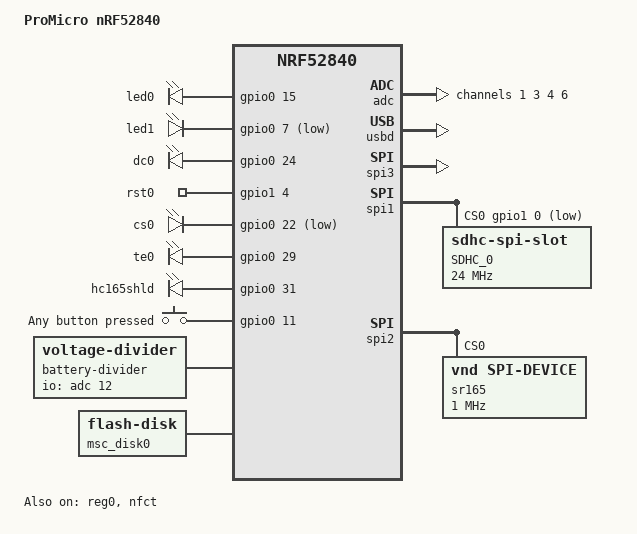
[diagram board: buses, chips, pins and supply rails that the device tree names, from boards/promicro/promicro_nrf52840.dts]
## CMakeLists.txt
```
# SPDX-License-Identifier: Apache-2.0

cmake_minimum_required(VERSION 3.20.0)
find_package(Zephyr REQUIRED HINTS $ENV{ZEPHYR_BASE})
project(blinky_custom)

# nostartfiles allows building on chromeos.
# not sure if its also needed for linux,
# but it probably isn't
zephyr_ld_options(-nostartfiles)

target_sources(app PRIVATE
    src/luazephyrlib.c
    src/lua/lapi.c
    src/lua/lauxlib.c
    src/lua/lbaselib.c
    src/lua/lcode.c
    src/lua/lcorolib.c
    src/lua/lctype.c
    src/lua/ldebug.c
    src/lua/ldo.c
    src/lua/ldump.c
    src/lua/lfunc.c
    src/lua/lgc.c
    src/lua/linit.c
    src/lua/liolib.c
    src/lua/llex.c
    src/lua/lmathlib.c
    src/lua/lmem.c
    src/lua/lobject.c
    src/lua/lopcodes.c
    src/lua/lparser.c
    src/lua/lstate.c
    src/lua/lstring.c
    src/lua/lstrlib.c
    src/lua/ltable.c
    src/lua/ltablib.c
    src/lua/ltm.c
    src/lua/lundump.c
    src/lua/lvm.c
    src/lua/lzio.c
    src/lua/loadlib.c

    src/main.c
    src/imgdata.c
    src/fonts/font8.c
    src/paint.c
    src/console/shell_commands.c
    src/console/console_router.c
    src/radio/ble_peer.c
    src/usb.c
    src/lua_thread.c
    src/filesystem/disk.c
    src/input.c
    src/ui.c
    src/AnalogIn.c
    src/battery.c
    src/drivers/74HC165.c
    src/drivers/ST7305.c
    src/stubs/strlcpy.c
    src/radio/radio.c
    src/radio/nfc.c
)
```

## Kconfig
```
mainmenu "Furrydex"

menu "Display"

choice FURRYDEX_DISPLAY_TYPE
	bool "Type of display used"
	default FURRYDEX_DISPLAY_TYPE_LCD

config FURRYDEX_DISPLAY_TYPE_LCD
	bool "LCD"

config FURRYDEX_DISPLAY_TYPE_EPD
	bool "EPD"
	
endchoice

choice # this choice is from https://github.com/SlimeVR/SlimeVR-Tracker-nRF, as is the battery code.
    prompt "Battery voltage mapping"
    default BATTERY_NO_MAPPING

config BATTERY_USE_REG_BUCK_MAPPING
    bool "Use buck regulator mapping (3.7V battery, DCDC)"
    help
      Use a constant power mapping for battery voltage.
      Preffered for systems with a buck regulator.
      Measured at a system voltage of 3.0V.

config BATTERY_USE_REG_LDO_MAPPING
    bool "Use LDO linear regulator mapping (3.7V battery, LDO)"
    help
      Use a constant current mapping for battery voltage.
      Preferred for systems with a linear regulator.

config BATTERY_NO_MAPPING
    bool "Disable battery voltage mapping"
    help
      Always map to 100% battery. Disables battery monitoring.

endchoice

config FURRYDEX_DISPLAY_WIDTH
    int "EPD RAM width"
    default 132
    help
      The width of the EPD displays RAM in bits

config FURRYDEX_DISPLAY_OFFSET_X
    int "Image offset for the X axis"
    default 10
    help
      Offset the image n amount to the right (x axis). Useful for screens with dummy pixels.

config FURRYDEX_DISPLAY_HEIGHT
    int "Display memory height"
    default 250
    help
      The height of the EPD displays RAM in bits

config FURRYDEX_CURSOR_START_X
    int "Display memory cursor start X"
    default 0
    help
      Set the start of the EPD RAM cursors X position. Normal value is 0

config FURRYDEX_CURSOR_START_Y
    int "Display memory cursor start Y"
    default 249
    help
      Set the start of the EPD RAM cursors Y position. Normal value is HEIGHT-1 or 0

config FURRYDEX_FRAME_BYTES_BUFFER
    int "Size of frame buffers"
    default 4250
    help
      The size of a frame buffer in the MCU's memory. This is sometimes different than the display's expected bytes due to pixel packing patterns.

config FURRYDEX_FRAME_BYTES_DISPLAY
    int "Size of display's memory"
    default 4125
    help
      The number of bytes that the display expects to receive

endmenu

menu "Input mapping"
	config FURRYDEX_INPUT_LEFT
	int "The shift register bit corresponding to the left input (0-7)"
	default 6
	help
		The shift register bit corresponding to the left input (0-7)

	config FURRYDEX_INPUT_RIGHT
	int "The shift register bit corresponding to the right input (0-7)"
	default 5
	help
		The shift register bit corresponding to the right input (0-7)

	config FURRYDEX_INPUT_UP
	int "The shift register bit corresponding to the up input (0-7)"
	default 4
	help
		The shift register bit corresponding to the up input (0-7)

	config FURRYDEX_INPUT_DOWN
	int "The shift register bit corresponding to the down input (0-7)"
	default 7
	help
		The shift register bit corresponding to the down input (0-7)

	config FURRYDEX_INPUT_A
	int "The shift register bit corresponding to the A input (0-7)"
	default 3
	help
		The shift register bit corresponding to the A input (0-7)

	config FURRYDEX_INPUT_B
	int "The shift register bit corresponding to the B input (0-7)"
	default 1
	help
		The shift register bit corresponding to the B input (0-7)

	config FURRYDEX_INPUT_C
	int "The shift register bit corresponding to the C input (0-7)"
	default 2
	help
		The shift register bit corresponding to the C input (0-7)
endmenu

menu "Lua options"
config LUA_HEAP_SIZE
	int "How much memory to be allocated to Lua"
	default 65536
	help
	  How much memory to be allocated to Lua's heap

config LUA_MAX_THREADS
	int "How many Lua scripts can be running at once"
	default 7
	help
	  How many Lua scripts can be running at once

config LUA_THREAD_STACK_SIZE
	int "How much memory to be allocated to each Lua thread"
	default 4096
	help
	  How much memory to be allocated to each Lua thread.

endmenu

menu "FurOS"
config FUROS_HEADLESS
	bool "Run FurOS headless (no GUI)"
	default true
	help
		Run FurOS headless (No GUI)

choice
    prompt "Disk mode"
    default DISK_MODE_NVS

config DISK_MODE_SD
    bool "Use an SD card as the mounted drive"
    help
      Mount the connected SD card on startup and treat it as the main drive.

config DISK_MODE_NVS
    bool "Use the internal storage of the SoC as the mounted drive"
    select FAT_FILESYSTEM_ELM
    select DISK_DRIVER_FLASH
    select FLASH_MAP
    help
      Use a FAT filesystem on the SoC's internal flash as the main drive.
      The drive is also exposed over USB mass storage.

endchoice

endmenu

menu "BLE defaults"
	depends on BT

config BLE_DEFAULT_COMPANY_ID
	string "Default company ID used for BLE advertizements"
	default "MP"
	help
	  Default company ID used for BLE advertizements.
endmenu

menu "USB sample options"
	depends on USB_DEVICE_STACK_NEXT

config SAMPLE_USBD_MANUFACTURER
	string "USB device sample manufacturer string"
	default "Zephyr Project"
	help
	  USB device sample manufacturer string.

config SAMPLE_USBD_PRODUCT
	string "USB device sample product string"
	default "USBD sample"
	help
	  USB device sample product stringa.

config SAMPLE_USBD_VID
	hex "USB device sample Vendor ID"
	default 0x2fe3
	help
	  USB device sample Vendor ID. The default id (0x2fe3) is associated to
	  Zephyr Project, you must use your own VID for samples and applications
	  outside of Zephyr Project.

config SAMPLE_USBD_PID
	hex "USB device sample Product ID"
	default 0x0001
	help
	  USB device sample Product ID. You must use your own PID for samples
	  and applications outside of Zephyr Project.

config SAMPLE_USBD_SELF_POWERED
	bool "USB device sample Self-powered attribute"
	default y
	help
	  Set the Self-powered attribute in the sample configuration.

config SAMPLE_USBD_REMOTE_WAKEUP
	bool "USB device sample Remote Wakeup attribute"
	help
	  Set the Remote Wakeup attribute in the sample configuration.

config SAMPLE_USBD_MAX_POWER
	int "USB device sample bMaxPower value"
	default 125
	range 0 250
	help
	  bMaxPower value in the sample configuration in 2 mA units.

config SAMPLE_USBD_20_EXTENSION_DESC
	bool "Use default USB 2.0 Extension Descriptor"
	depends on USBD_BOS_SUPPORT
	help
	  Set bcdUSB value to 0201 and use default USB 2.0 Extension Descriptor.

endmenu

source "Kconfig.zephyr"
```

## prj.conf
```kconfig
CONFIG_SPI_NRFX=y

CONFIG_ARM_MPU=n

CONFIG_HW_STACK_PROTECTION=n

CONFIG_GPIO=y
CONFIG_SPI=y
CONFIG_PWM=y
# adc is just for modules
CONFIG_ADC=y
CONFIG_ADC_ASYNC=y
# i2c is just for modules
CONFIG_I2C=y
# eeprom is just for modules
CONFIG_EEPROM=y
# flash is just for modules
CONFIG_FLASH=y

CONFIG_REBOOT=y

CONFIG_DISK_ACCESS=y
CONFIG_FILE_SYSTEM=y
CONFIG_FAT_FILESYSTEM_ELM=y
CONFIG_FS_FATFS_MOUNT_MKFS=y
CONFIG_FS_FATFS_EXFAT=y
CONFIG_DISK_DRIVER_SDMMC=y

# this stuff needs to increase for SD card
CONFIG_MAIN_STACK_SIZE=8096
CONFIG_SHELL_STACK_SIZE=4096
CONFIG_HEAP_MEM_POOL_SIZE=16384
CONFIG_SYSTEM_WORKQUEUE_STACK_SIZE=2048

# usb / console
CONFIG_USB_DEVICE_STACK_NEXT=y

#CONFIG_STDOUT_CONSOLE=y
CONFIG_SERIAL=y
CONFIG_SHELL_BACKEND_SERIAL_CHECK_DTR=n
CONFIG_UART_LINE_CTRL=y
CONFIG_USBD_CDC_ACM_CLASS=y
CONFIG_CDC_ACM_SERIAL_INITIALIZE_AT_BOOT=n
CONFIG_SHELL_BACKEND_SERIAL_RX_RING_BUFFER_SIZE=8096

CONFIG_LOG=y
CONFIG_USBD_LOG_LEVEL_WRN=y
CONFIG_UDC_DRIVER_LOG_LEVEL_WRN=y
CONFIG_USBD_LOG_LEVEL_ERR=y
CONFIG_UDC_DRIVER_LOG_LEVEL_ERR=y
CONFIG_USBD_CDC_ACM_LOG_LEVEL_OFF=y

CONFIG_SAMPLE_USBD_PID=0x0001
CONFIG_SAMPLE_USBD_PRODUCT="Furrydex"
CONFIG_SAMPLE_USBD_MANUFACTURER="Macroplastics"

CONFIG_USBD_MSC_CLASS=y
CONFIG_USBD_MSC_LUNS_PER_INSTANCE=1

CONFIG_UDC_BUF_COUNT=32
# 8192 might be too high
CONFIG_UDC_BUF_POOL_SIZE=8192
# CONFIG_SYSTEM_WORKQUEUE_STACK_SIZE=8192

CONFIG_SHELL=y
# this stuff is probably not needed and should probably be removed in production firmware, but it is so cool!!
# i think sched(uler) is for multi-core cpus
# CONFIG_SCHED_CPU_MASK=y
CONFIG_THREAD_RUNTIME_STATS=y
CONFIG_KERNEL_SHELL=y
CONFIG_STATS=y
CONFIG_STATS_SHELL=y

# lua stuff
# CONFIG_NEWLIB_LIBC_SUPPORTED=y
# CONFIG_NEWLIB_LIBC=y
# CONFIG_NEWLIB_LIBC_FLOAT_PRINTF=y
# CONFIG_NEWLIB_LIBC_FLOAT_SCANF=y
CONFIG_POSIX_API=y

CONFIG_ENTROPY_GENERATOR=y
CONFIG_THREAD_NAME=y


### RTT ###
# Enable RTT driver
CONFIG_USE_SEGGER_RTT=y

# Redirect the console and printk to RTT
CONFIG_CONSOLE=y
CONFIG_RTT_CONSOLE=y
CONFIG_UART_CONSOLE=n

# Optional: Enable the logger module with RTT backend
CONFIG_LOG=y
CONFIG_LOG_BACKEND_RTT=y

### Radio ###
# BLE
CONFIG_BT=y
CONFIG_BT_OBSERVER=y
CONFIG_BT_BROADCASTER=y
CONFIG_BT_PERIPHERAL=y
CONFIG_BT_CENTRAL=y
CONFIG_BT_GATT_CLIENT=y
CONFIG_BT_DEVICE_NAME="Furrydex"
CONFIG_BT_ZEPHYR_NUS=y
CONFIG_BT_ZEPHYR_NUS_DEFAULT_INSTANCE=y
CONFIG_BT_NUS_CLIENT=y
CONFIG_BT_GATT_DM=y
CONFIG_BT_L2CAP_TX_MTU=247
CONFIG_BT_BUF_ACL_TX_SIZE=251
CONFIG_BT_BUF_ACL_RX_SIZE=251

CONFIG_BT_EXT_ADV=y
CONFIG_BT_CTLR_ADV_EXT=y
CONFIG_BT_CTLR_PHY_CODED=y

# NFC
CONFIG_NFC_T2T_NRFXLIB=y # Include the pre-compiled NFC T2T library

CONFIG_NFC_NDEF=y # Enable NDEF support
CONFIG_NFC_NDEF_MSG=y # Enable NDEF message support
CONFIG_NFC_NDEF_RECORD=y # Enable NDEF record support
CONFIG_NFC_NDEF_TEXT_RECORD=y # Enable NDEF text record support
```

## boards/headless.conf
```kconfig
CONFIG_FUROS_HEADLESS=y
CONFIG_DISK_MODE_NVS=y
CONFIG_SAMPLE_USBD_MANUFACTURER="Macroplastics"
CONFIG_SAMPLE_USBD_PRODUCT="Furrydex"
CONFIG_MAIN_STACK_SIZE=8096
CONFIG_SHELL_STACK_SIZE=4096
CONFIG_FLASH=y
CONFIG_LOG=y
CONFIG_CONSOLE=y
CONFIG_REBOOT=y
CONFIG_BT_BUF_ACL_TX_SIZE=251
CONFIG_BT_BUF_ACL_RX_SIZE=251
CONFIG_BT_L2CAP_TX_MTU=247
CONFIG_BT_GATT_DM=y
CONFIG_BT_NUS_CLIENT=y
CONFIG_HEAP_MEM_POOL_SIZE=16384
CONFIG_BT_CENTRAL=y
CONFIG_BT_PERIPHERAL=y
CONFIG_BT_EXT_ADV=y
CONFIG_BT_ZEPHYR_NUS=y
CONFIG_BT_GATT_CLIENT=y
CONFIG_BT_DEVICE_NAME="Furrydex"
CONFIG_NFC_NDEF=y
CONFIG_NFC_NDEF_MSG=y
CONFIG_NFC_NDEF_RECORD=y
CONFIG_NFC_NDEF_TEXT_RECORD=y
CONFIG_USE_SEGGER_RTT=y
CONFIG_NFC_T2T_NRFXLIB=y
CONFIG_ADC=y
CONFIG_ADC_ASYNC=y
CONFIG_RTT_CONSOLE=y
CONFIG_EEPROM=y
CONFIG_I2C=y
CONFIG_PWM=y
CONFIG_UART_LINE_CTRL=y
CONFIG_UDC_BUF_COUNT=32
CONFIG_UDC_BUF_POOL_SIZE=8192
CONFIG_UDC_DRIVER_LOG_LEVEL_ERR=y
CONFIG_POSIX_API=y
CONFIG_BT=y
CONFIG_BT_CTLR_PHY_CODED=y
CONFIG_DEBUG_THREAD_INFO=y
CONFIG_FAT_FILESYSTEM_ELM=y
CONFIG_FS_FATFS_EXFAT=y
CONFIG_LOG_BACKEND_RTT=y
CONFIG_SHELL=y
CONFIG_SHELL_BACKEND_SERIAL_RX_RING_BUFFER_SIZE=8096
CONFIG_STATS=y
CONFIG_STATS_SHELL=y
CONFIG_USB_DEVICE_STACK_NEXT=y
CONFIG_USBD_LOG_LEVEL_ERR=y
CONFIG_USBD_CDC_ACM_LOG_LEVEL_OFF=y
CONFIG_USBD_MSC_CLASS=y
```

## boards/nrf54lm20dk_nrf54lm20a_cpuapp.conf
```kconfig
# SPDX-License-Identifier: Apache-2.0

# board specific
CONFIG_FURRYDEX_DISPLAY_WIDTH=132
CONFIG_FURRYDEX_DISPLAY_HEIGHT=250

CONFIG_FURRYDEX_FRAME_BYTES_BUFFER=4250
CONFIG_FURRYDEX_FRAME_BYTES_DISPLAY=4125
CONFIG_FURRYDEX_CURSOR_START_X=0
CONFIG_FURRYDEX_CURSOR_START_Y=249
CONFIG_BATTERY_USE_REG_LDO_MAPPING=y
CONFIG_LUA_HEAP_SIZE=262144

CONFIG_DK_LIBRARY=y

# For debugging, this should never be disabled on production boards
CONFIG_RESET_ON_FATAL_ERROR=n
```

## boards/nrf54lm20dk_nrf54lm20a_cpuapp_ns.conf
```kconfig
# SPDX-License-Identifier: Apache-2.0

# board specific
CONFIG_FURRYDEX_DISPLAY_WIDTH=132
CONFIG_FURRYDEX_DISPLAY_HEIGHT=250

# not 4125 due to weird 132-pixel width
CONFIG_FURRYDEX_FRAME_BYTES_BUFFER=4250
# the LCD expects 4125 bits. this is fuckin weird. fix it later.
CONFIG_FURRYDEX_FRAME_BYTES_DISPLAY=4125
CONFIG_FURRYDEX_CURSOR_START_X=0
CONFIG_FURRYDEX_CURSOR_START_Y=249
CONFIG_BATTERY_USE_REG_LDO_MAPPING=y
```

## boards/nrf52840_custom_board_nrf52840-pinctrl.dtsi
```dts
/*
 * Copyright (c) 2022 Nordic Semiconductor
 * SPDX-License-Identifier: Apache-2.0
 */

&pinctrl {
	spi3_default: spi3_default {
		group1 {
			psels = <NRF_PSEL(SPIM_MOSI, 0, 17)>,
					<NRF_PSEL(SPIM_SCK, 0, 20)>;
		};
	};

	spi3_sleep: spi3_sleep {
		group1 {
			psels = <NRF_PSEL(SPIM_MOSI, 0, 17)>,
					<NRF_PSEL(SPIM_SCK, 0, 20)>;
			low-power-enable;
		};
	};

	spi_sr: spi_sr{
		group1 {
            psels = <NRF_PSEL(SPIM_SCK, 0, 8)>, // CLK
					<NRF_PSEL(SPIM_MISO, 0, 6)>; // QH (pin 9)
        };
	};

	custom_spi: custom_spi {
                group1 {
                        psels = <NRF_PSEL(SPIM_SCK, 1, 15)>,
                                <NRF_PSEL(SPIM_MOSI, 1, 13)>,
                                <NRF_PSEL(SPIM_MISO, 1, 11)>;
                };
        };
};
```

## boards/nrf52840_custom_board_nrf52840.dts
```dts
/*
 * Copyright (c) 2017 Linaro Limited
 *
 * SPDX-License-Identifier: Apache-2.0
 */

/dts-v1/;
#include <nordic/nrf52840_qiaa.dtsi>
#include <nordic/nrf52840_partition.dtsi>
#include "nrf52840_custom_board_nrf52840-pinctrl.dtsi"
#include <zephyr/dt-bindings/input/input-event-codes.h>

#include <zephyr/dt-bindings/adc/adc.h>
#include <zephyr/dt-bindings/adc/nrf-adc.h>

/ {
	model = "Nrf52840 Custom Board";
	compatible = "nordic,nrf52840-custom-board-nrf52840";

	chosen {
		zephyr,console = &cdc_acm_uart0;
		zephyr,shell-uart = &cdc_acm_uart0;
		zephyr,uart-mcumgr = &cdc_acm_uart0;
		zephyr,bt-mon-uart = &cdc_acm_uart0;
		zephyr,bt-c2h-uart = &cdc_acm_uart0;
	};

	leds {
		compatible = "gpio-leds";
		led0: led_0 {
			gpios = <&gpio0 15 GPIO_ACTIVE_HIGH>;
		};
		led1: led_1 {
			gpios = <&gpio0 7 GPIO_ACTIVE_LOW>;
		};
	};

	gpios {
		compatible = "gpio-leds";
		dc0: dc_0{
			gpios = <&gpio0 24 GPIO_ACTIVE_HIGH>;
		};
		rst0: rst_0{
			gpios = <&gpio1 4 GPIO_ACTIVE_HIGH>;
		};
		cs0: cs_0{
			gpios = <&gpio0 22 GPIO_ACTIVE_LOW>;
		};
		te0: te_0{
			gpios = <&gpio0 29 (GPIO_PULL_DOWN | GPIO_ACTIVE_HIGH)>;
		};
		hc165shld: hc165shld{
			gpios = <&gpio0 31 GPIO_ACTIVE_HIGH>;
		};
	};

	buttons {
		compatible = "gpio-keys";
		button0: button_0 {
			gpios = <&gpio0 11 (GPIO_PULL_DOWN | GPIO_ACTIVE_HIGH)>;
			label = "Any button pressed";
		};
	};

	battery-divider {
		compatible = "voltage-divider";
		status = "okay";
		io-channels = <&adc 12>; // Measure VDDHDIV5
		output-ohms = <1>;
		full-ohms = <5>;
	};

	aliases {
		sw0 = &button0;
		adcctrl = &adc;
		led0 = &led0;  // is this necessary?
		led1 = &led1;  // is this necessary?
		dc0 = &dc0;
		rst0 = &rst0;
		cs0 = &cs0;
		te0 = &te0;
		bootloader-led0 = &led0; // is this necessary?
		mcuboot-button0 = &button0; // is this necessary?
		mcuboot-led0 = &led0; // is this necessary?
		watchdog0 = &wdt0; // is this necessary?
		zephyr-udc0 = &usbd;
		hc165shld = &hc165shld;
	};
};

&adc {
    #address-cells = <1>;
    #size-cells = <0>;
    status = "okay";

    // channel_0: channel@0 { reg = <0>; zephyr,gain = "ADC_GAIN_1_6"; zephyr,reference = "ADC_REF_INTERNAL"; zephyr,acquisition-time = <ADC_ACQ_TIME(ADC_ACQ_TIME_MICROSECONDS, 40)>; zephyr,input-positive = <NRF_SAADC_AIN0>; zephyr,resolution = <10>; };
    channel_1: channel@1 { reg = <1>; zephyr,gain = "ADC_GAIN_1_6"; zephyr,reference = "ADC_REF_INTERNAL"; zephyr,acquisition-time = <ADC_ACQ_TIME(ADC_ACQ_TIME_MICROSECONDS, 40)>; zephyr,input-positive = <NRF_SAADC_AIN1>; zephyr,resolution = <10>; };
    // channel_2: channel@2 { reg = <2>; zephyr,gain = "ADC_GAIN_1_6"; zephyr,reference = "ADC_REF_INTERNAL"; zephyr,acquisition-time = <ADC_ACQ_TIME(ADC_ACQ_TIME_MICROSECONDS, 40)>; zephyr,input-positive = <NRF_SAADC_AIN2>; zephyr,resolution = <10>; };
    channel_3: channel@3 { reg = <3>; zephyr,gain = "ADC_GAIN_1_6"; zephyr,reference = "ADC_REF_INTERNAL"; zephyr,acquisition-time = <ADC_ACQ_TIME(ADC_ACQ_TIME_MICROSECONDS, 40)>; zephyr,input-positive = <NRF_SAADC_AIN3>; zephyr,resolution = <10>; };
    channel_4: channel@4 { reg = <4>; zephyr,gain = "ADC_GAIN_1_6"; zephyr,reference = "ADC_REF_INTERNAL"; zephyr,acquisition-time = <ADC_ACQ_TIME(ADC_ACQ_TIME_MICROSECONDS, 40)>; zephyr,input-positive = <NRF_SAADC_AIN4>; zephyr,resolution = <10>; };
    // channel_5: channel@5 { reg = <5>; zephyr,gain = "ADC_GAIN_1_6"; zephyr,reference = "ADC_REF_INTERNAL"; zephyr,acquisition-time = <ADC_ACQ_TIME(ADC_ACQ_TIME_MICROSECONDS, 40)>; zephyr,input-positive = <NRF_SAADC_AIN5>; zephyr,resolution = <10>; };
    channel_6: channel@6 { reg = <6>; zephyr,gain = "ADC_GAIN_1_6"; zephyr,reference = "ADC_REF_INTERNAL"; zephyr,acquisition-time = <ADC_ACQ_TIME(ADC_ACQ_TIME_MICROSECONDS, 40)>; zephyr,input-positive = <NRF_SAADC_AIN6>; zephyr,resolution = <10>; };
    // channel_7: channel@7 { reg = <7>; zephyr,gain = "ADC_GAIN_1_6"; zephyr,reference = "ADC_REF_INTERNAL"; zephyr,acquisition-time = <ADC_ACQ_TIME(ADC_ACQ_TIME_MICROSECONDS, 40)>; zephyr,input-positive = <NRF_SAADC_AIN7>; zephyr,resolution = <10>; };
};

&reg0 {
	status = "okay";
};

&reg1 {
	regulator-initial-mode = <NRF5X_REG_MODE_DCDC>;
};

&gpio0 {
	status = "okay";
};

&gpio1 {
	status = "okay";
};

&uart0 {
	status = "disabled";
};

&gpiote {
	status = "okay";
};

&usbd {
    status = "okay";
    usb_device_0: usb_device_0 {
        compatible = "zephyr,usbd";
        status = "okay";
        usb_config_0: usb_config_0 {
            compatible = "zephyr,usbd-config";
			
            cdc_acm_uart0: cdc_acm_uart0 {
                compatible = "zephyr,cdc-acm-uart";
            };

            msc_0: msc_0 {
                compatible = "zephyr,usbd-msc";
            };
        };
    };
};

// Display
&spi3 {
	compatible = "nordic,nrf-spim";
	status = "okay";
	max-frequency = <DT_FREQ_M(40)>;
	pinctrl-0 = <&spi3_default>;
	pinctrl-1 = <&spi3_sleep>;
	pinctrl-names = "default", "sleep";
};

// SD card
&spi1 {
        status = "okay";
        pinctrl-0 = <&custom_spi>;
        pinctrl-1 = <&custom_spi>;
        pinctrl-names = "default", "sleep";
        cs-gpios = <&gpio1 0 GPIO_ACTIVE_LOW>;
		sdhc0: sdhc@0 {
                compatible = "zephyr,sdhc-spi-slot";
                reg = <0>;
                status = "okay";
                label = "SDHC_0";
                mmc {
						disk-name = "SD";
                        compatible = "zephyr,sdmmc-disk";
                        status = "okay";
                };
                spi-max-frequency = <24000000>;
        };
};

// Shift register for button inputs
&spi2 {
	compatible = "nordic,nrf-spim";
	status = "okay";
	max-frequency = <DT_FREQ_M(1)>;
	pinctrl-0 = <&spi_sr>;
	pinctrl-names = "default";

	sr165: sr165@0 {
        compatible = "vnd,spi-device";
        reg = <0>;
        spi-max-frequency = <1000000>; // 1Mhz, should probably be 4MHz
    };
};
```

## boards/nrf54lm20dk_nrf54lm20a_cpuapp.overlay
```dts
/ {
	chosen {
		zephyr,console = &cdc_acm_uart0;
		zephyr,shell-uart = &cdc_acm_uart0;
		zephyr,uart-mcumgr = &cdc_acm_uart0;
		zephyr,bt-mon-uart = &cdc_acm_uart0;
		zephyr,bt-c2h-uart = &cdc_acm_uart0;
	};

	leds {
		compatible = "gpio-leds";

		led0: led_0 {
			gpios = <&gpio3 0 GPIO_ACTIVE_HIGH>;
		};

		led1: led_1 {
			gpios = <&gpio3 1 GPIO_ACTIVE_LOW>;
		};
	};

	gpios {
		compatible = "gpio-leds";

		dc0: dc_0 {
			gpios = <&gpio1 3 GPIO_ACTIVE_HIGH>;
		};

		rst0: rst_0 {
			gpios = <&gpio1 11 GPIO_ACTIVE_HIGH>;
		};

		cs0: cs_0 {
			gpios = <&gpio1 5 GPIO_ACTIVE_LOW>;
		};

		te0: te_0 {
			gpios = <&gpio1 7 (GPIO_PULL_DOWN | GPIO_ACTIVE_HIGH)>;
		};

		hc165shld: hc165shld {
			gpios = <&gpio1 31 GPIO_ACTIVE_HIGH>;
		};
	};

	buttons {
		compatible = "gpio-keys";

		button0: button_0 {
			gpios = <&gpio1 26 (GPIO_PULL_DOWN | GPIO_ACTIVE_HIGH)>;
			label = "Any button pressed";
		};
	};

	battery-divider {
		compatible = "voltage-divider";
		status = "okay";
		io-channels = <&adc 3>;
		output-ohms = <1>;
		full-ohms = <5>;
	};

	aliases {
		sw0 = &button0;
		adcctrl = &adc;
		led0 = &led0;  // is this necessary?
		led1 = &led1;  // is this necessary?
		dc0 = &dc0;
		rst0 = &rst0;
		cs0 = &cs0;
		te0 = &te0;
		zephyr-udc0 = &usbhs;
		hc165shld = &hc165shld;
	};
};

&pinctrl {
	// Display
	// these are on gpio bank 2 because spi00 is a part of gpio bank 2
	spi00_default: spi00_default {
		group1 {
			psels = <NRF_PSEL(SPIM_MOSI, 2, 2)>,
				<NRF_PSEL(SPIM_SCK, 2, 1)>;
		};
	};

	spi00_sleep: spi00_sleep {
		group1 {
			psels = <NRF_PSEL(SPIM_MOSI, 2, 2)>,
				<NRF_PSEL(SPIM_SCK, 2, 1)>;
			low-power-enable;
		};
	};

	// Shift register for button inputs
	spi_sr: spi_sr {
		group1 {
			psels = <NRF_PSEL(SPIM_SCK, 1, 13)>, // CLK
				<NRF_PSEL(SPIM_MISO, 1, 15)>; // QH (pin 9)
		};
	};

	// SD card
	custom_spi: custom_spi {
		group1 {
			psels = <NRF_PSEL(SPIM_SCK, 1, 4)>,
				<NRF_PSEL(SPIM_MOSI, 1, 6)>,
				<NRF_PSEL(SPIM_MISO, 1, 0)>;
		};
	};
};

// Display
&spi00 {
	compatible = "nordic,nrf-spim";
	status = "okay";
	max-frequency = <DT_FREQ_M(32)>;
	pinctrl-0 = <&spi00_default>;
	pinctrl-1 = <&spi00_sleep>;
	pinctrl-names = "default", "sleep";
};

// SD card
&spi23 {
	status = "okay";
	pinctrl-0 = <&custom_spi>;
	pinctrl-1 = <&custom_spi>;
	pinctrl-names = "default", "sleep";
	cs-gpios = <&gpio1 10 GPIO_ACTIVE_LOW>;

	sdhc0: sdhc@0 {
		compatible = "zephyr,sdhc-spi-slot";
		reg = <0>;
		status = "okay";
		label = "SDHC_0";

		mmc {
			disk-name = "SD";
			compatible = "zephyr,sdmmc-disk";
			status = "okay";
		};

		spi-max-frequency = <24000000>;
	};
};

// Shift register for button inputs
&spi21 {
	compatible = "nordic,nrf-spim";
	status = "okay";
	max-frequency = <DT_FREQ_M(1)>;
	pinctrl-0 = <&spi_sr>;
	pinctrl-names = "default";

	sr165: sr165@0 {
		compatible = "vnd,spi-device";
		reg = <0>;
		spi-max-frequency = <1000000>; // 1Mhz, should probably be 4MHz
	};
};

&usbhs {
	status = "okay";

	usb_device_0: usb_device_0 {
		compatible = "zephyr,usbd";
		status = "okay";

		usb_config_0: usb_config_0 {
			compatible = "zephyr,usbd-config";

			cdc_acm_uart0: cdc_acm_uart0 {
				compatible = "zephyr,cdc-acm-uart";
			};

			msc_0: msc_0 {
				compatible = "zephyr,usbd-msc";
			};
		};
	};
};
```

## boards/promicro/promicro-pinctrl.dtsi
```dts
/*
 * Copyright (c) 2022 Nordic Semiconductor
 * SPDX-License-Identifier: Apache-2.0
 */

&pinctrl {
	// Display
	spi3_default: spi3_default {
		group1 {
			psels = <NRF_PSEL(SPIM_MOSI, 0, 17)>,
					<NRF_PSEL(SPIM_SCK, 0, 20)>;
		};
	};

	spi3_sleep: spi3_sleep {
		group1 {
			psels = <NRF_PSEL(SPIM_MOSI, 0, 17)>,
					<NRF_PSEL(SPIM_SCK, 0, 20)>;
			low-power-enable;
		};
	};
	
	// Shift register for button inputs
	spi_sr: spi_sr{
		group1 {
            psels = <NRF_PSEL(SPIM_SCK, 0, 8)>, // CLK
					<NRF_PSEL(SPIM_MISO, 0, 6)>; // QH (pin 9)
        };
	};

	// SD card
	custom_spi: custom_spi {
                group1 {
                        psels = <NRF_PSEL(SPIM_SCK, 1, 15)>,
                                <NRF_PSEL(SPIM_MOSI, 1, 13)>,
                                <NRF_PSEL(SPIM_MISO, 1, 11)>;
                };
        };
};
```

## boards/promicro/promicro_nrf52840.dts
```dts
/*
 * Copyright (c) 2017 Linaro Limited
 *
 * SPDX-License-Identifier: Apache-2.0
 */

/dts-v1/;
#include <nordic/nrf52840_qiaa.dtsi>
#include <nordic/nrf52840_partition.dtsi>
#include "promicro-pinctrl.dtsi"
#include <zephyr/dt-bindings/input/input-event-codes.h>

#include <zephyr/dt-bindings/adc/adc.h>
#include <zephyr/dt-bindings/adc/nrf-adc.h>

/ {
	model = "ProMicro nRF52840";
	compatible = "nordic,promicro-nrf52840";

	chosen {
		zephyr,console = &cdc_acm_uart0;
		zephyr,shell-uart = &cdc_acm_uart0;
		zephyr,uart-mcumgr = &cdc_acm_uart0;
		zephyr,bt-mon-uart = &cdc_acm_uart0;
		zephyr,bt-c2h-uart = &cdc_acm_uart0;
	};

	leds {
		compatible = "gpio-leds";

		led0: led_0 {
			gpios = <&gpio0 15 GPIO_ACTIVE_HIGH>;
		};

		led1: led_1 {
			gpios = <&gpio0 7 GPIO_ACTIVE_LOW>;
		};
	};

	gpios {
		compatible = "gpio-leds";

		dc0: dc_0 {
			gpios = <&gpio0 24 GPIO_ACTIVE_HIGH>;
		};

		rst0: rst_0 {
			gpios = <&gpio1 4 GPIO_ACTIVE_HIGH>;
		};

		cs0: cs_0 {
			gpios = <&gpio0 22 GPIO_ACTIVE_LOW>;
		};

		te0: te_0 {
			gpios = <&gpio0 29 (GPIO_PULL_DOWN | GPIO_ACTIVE_HIGH)>;
		};

		hc165shld: hc165shld {
			gpios = <&gpio0 31 GPIO_ACTIVE_HIGH>;
		};
	};

	buttons {
		compatible = "gpio-keys";

		button0: button_0 {
			gpios = <&gpio0 11 (GPIO_PULL_DOWN | GPIO_ACTIVE_HIGH)>;
			label = "Any button pressed";
		};
	};

	battery-divider {
		compatible = "voltage-divider";
		status = "okay";
		io-channels = <&adc 12>; // Measure VDDHDIV5
		output-ohms = <1>;
		full-ohms = <5>;
	};

	aliases {
		sw0 = &button0;
		adcctrl = &adc;
		led0 = &led0;  // is this necessary?
		led1 = &led1;  // is this necessary?
		dc0 = &dc0;
		rst0 = &rst0;
		cs0 = &cs0;
		te0 = &te0;
		bootloader-led0 = &led0; // is this necessary?
		mcuboot-button0 = &button0; // is this necessary?
		mcuboot-led0 = &led0; // is this necessary?
		watchdog0 = &wdt0; // is this necessary?
		zephyr-udc0 = &usbd;
		hc165shld = &hc165shld;
	};
};

&adc {
	#address-cells = <1>;
	#size-cells = <0>;
	status = "okay";

	// channel_0: channel@0 { reg = <0>; zephyr,gain = "ADC_GAIN_1_6"; zephyr,reference = "ADC_REF_INTERNAL"; zephyr,acquisition-time = <ADC_ACQ_TIME(ADC_ACQ_TIME_MICROSECONDS, 40)>; zephyr,input-positive = <NRF_SAADC_AIN0>; zephyr,resolution = <10>; };
	channel_1: channel@1 {
		reg = <1>;
		zephyr,gain = "ADC_GAIN_1_6";
		zephyr,reference = "ADC_REF_INTERNAL";
		zephyr,acquisition-time = <ADC_ACQ_TIME(ADC_ACQ_TIME_MICROSECONDS, 40)>;
		zephyr,input-positive = <NRF_SAADC_AIN1>;
		zephyr,resolution = <10>;
	};

	// channel_2: channel@2 { reg = <2>; zephyr,gain = "ADC_GAIN_1_6"; zephyr,reference = "ADC_REF_INTERNAL"; zephyr,acquisition-time = <ADC_ACQ_TIME(ADC_ACQ_TIME_MICROSECONDS, 40)>; zephyr,input-positive = <NRF_SAADC_AIN2>; zephyr,resolution = <10>; };
	channel_3: channel@3 {
		reg = <3>;
		zephyr,gain = "ADC_GAIN_1_6";
		zephyr,reference = "ADC_REF_INTERNAL";
		zephyr,acquisition-time = <ADC_ACQ_TIME(ADC_ACQ_TIME_MICROSECONDS, 40)>;
		zephyr,input-positive = <NRF_SAADC_AIN3>;
		zephyr,resolution = <10>;
	};

	channel_4: channel@4 {
		reg = <4>;
		zephyr,gain = "ADC_GAIN_1_6";
		zephyr,reference = "ADC_REF_INTERNAL";
		zephyr,acquisition-time = <ADC_ACQ_TIME(ADC_ACQ_TIME_MICROSECONDS, 40)>;
		zephyr,input-positive = <NRF_SAADC_AIN4>;
		zephyr,resolution = <10>;
	};

	// channel_5: channel@5 { reg = <5>; zephyr,gain = "ADC_GAIN_1_6"; zephyr,reference = "ADC_REF_INTERNAL"; zephyr,acquisition-time = <ADC_ACQ_TIME(ADC_ACQ_TIME_MICROSECONDS, 40)>; zephyr,input-positive = <NRF_SAADC_AIN5>; zephyr,resolution = <10>; };
	channel_6: channel@6 {
		reg = <6>;
		zephyr,gain = "ADC_GAIN_1_6";
		zephyr,reference = "ADC_REF_INTERNAL";
		zephyr,acquisition-time = <ADC_ACQ_TIME(ADC_ACQ_TIME_MICROSECONDS, 40)>;
		zephyr,input-positive = <NRF_SAADC_AIN6>;
		zephyr,resolution = <10>;
	};
	// channel_7: channel@7 { reg = <7>; zephyr,gain = "ADC_GAIN_1_6"; zephyr,reference = "ADC_REF_INTERNAL"; zephyr,acquisition-time = <ADC_ACQ_TIME(ADC_ACQ_TIME_MICROSECONDS, 40)>; zephyr,input-positive = <NRF_SAADC_AIN7>; zephyr,resolution = <10>; };
};

&reg0 {
	status = "okay";
};

&reg1 {
	regulator-initial-mode = <NRF5X_REG_MODE_DCDC>;
};

&gpio0 {
	status = "okay";
};

&gpio1 {
	status = "okay";
};

&uart0 {
	status = "disabled";
};

&gpiote {
	status = "okay";
};

&usbd {
	status = "okay";

	usb_device_0: usb_device_0 {
		compatible = "zephyr,usbd";
		status = "okay";

		usb_config_0: usb_config_0 {
			compatible = "zephyr,usbd-config";

			cdc_acm_uart0: cdc_acm_uart0 {
				compatible = "zephyr,cdc-acm-uart";
			};

			msc_0: msc_0 {
				compatible = "zephyr,usbd-msc";
			};
		};
	};
};

// Display
&spi3 {
	compatible = "nordic,nrf-spim";
	status = "okay";
	max-frequency = <DT_FREQ_M(40)>;
	pinctrl-0 = <&spi3_default>;
	pinctrl-1 = <&spi3_sleep>;
	pinctrl-names = "default", "sleep";
};

// SD card
&spi1 {
	status = "okay";
	pinctrl-0 = <&custom_spi>;
	pinctrl-1 = <&custom_spi>;
	pinctrl-names = "default", "sleep";
	cs-gpios = <&gpio1 0 GPIO_ACTIVE_LOW>;

	sdhc0: sdhc@0 {
		compatible = "zephyr,sdhc-spi-slot";
		reg = <0>;
		status = "okay";
		label = "SDHC_0";

		mmc {
			disk-name = "SD";
			compatible = "zephyr,sdmmc-disk";
			status = "okay";
		};

		spi-max-frequency = <24000000>;
	};
};

// Shift register for button inputs
&spi2 {
	compatible = "nordic,nrf-spim";
	status = "okay";
	max-frequency = <DT_FREQ_M(1)>;
	pinctrl-0 = <&spi_sr>;
	pinctrl-names = "default";

	sr165: sr165@0 {
		compatible = "vnd,spi-device";
		reg = <0>;
		spi-max-frequency = <1000000>; // 1Mhz, should probably be 4MHz
	};
};

&nfct {
	status = "okay";
};

/delete-node/ &slot1_partition;
/delete-node/ &storage_partition;

&flash0 {
	partitions {
		slot1_partition: partition@82000 {
			compatible = "zephyr,mapped-partition";
			label = "image-1";
			reg = <0x00082000 0x0003e000>;
		};

		storage_partition: partition@c0000 {
			compatible = "zephyr,mapped-partition";
			label = "storage";
			reg = <0x000c0000 0x00040000>;
		};
	};
};

/ {
	msc_disk0 {
		compatible = "zephyr,flash-disk";
		partition = <&storage_partition>;
		disk-name = "NVS";
		cache-size = <4096>;
	};
};
```

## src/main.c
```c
/*
 * Copyright (c) 2016 Intel Corporation
 *
 * SPDX-License-Identifier: Apache-2.0
 */
#include <stdio.h>
#include <zephyr/kernel.h>
#include <zephyr/drivers/gpio.h>
#include <zephyr/device.h>
#include <zephyr/drivers/spi.h>
#include <stdbool.h>
#include <stdlib.h>
#include "drivers/ST7305.h"
#include "imgdata.h"
#include "fonts/font8.h"
#include "paint.h"
#include "console/shell_commands.h"
#include "usb.h"
#include "luazephyrlib.h"
#include "filesystem/disk.h"
#include "input.h"
#include "ui.h"
#include "lua_thread.h"
#include "ui.h"
#include "console/console_router.h"
#include "radio/radio.h"
#include "radio/ble_peer.h"
#include "radio/nfc.h"

#include <zephyr/storage/disk_access.h>
#include <zephyr/fs/fs.h>
#include <ff.h>
#include <zephyr/random/random.h>

#include <zephyr/drivers/uart.h>
#include <zephyr/usb/usbd.h>
#include <zephyr/usb/class/usbd_msc.h>
#include <zephyr/logging/log.h>
#include <zephyr/shell/shell.h>
#include <zephyr/sys/atomic.h>

USBD_DEFINE_MSC_LUN(drive_lun, FURRYDEX_DISK_NAME, "Macroplastics", "Furrydex", "1.00");

const struct device *const uart_dev = DEVICE_DT_GET_ONE(zephyr_cdc_acm_uart);

/* The devicetree node identifier for the "led0" alias. */
// #define LED0_NODE DT_ALIAS(led0)
// static const struct gpio_dt_spec led = GPIO_DT_SPEC_GET(LED0_NODE, gpios);

LOG_MODULE_REGISTER(main);

// static int lsdir(const char *path);

/*
 *  Note the fatfs library is able to mount only strings inside _VOLUME_STRS
 *  in ffconf.h
 */

// usb start
static inline void print_baudrate(const struct device *dev)
{
    uint32_t baudrate;
    int ret;

    ret = uart_line_ctrl_get(dev, UART_LINE_CTRL_BAUD_RATE, &baudrate);
    if (ret)
    {
        LOG_WRN("Failed to get baudrate, ret code %d", ret);
    }
    else
    {
        LOG_INF("Baudrate %u", baudrate);
    }
}

static struct usbd_context *sample_usbd;
K_SEM_DEFINE(dtr_sem, 0, 1);

static void sample_msg_cb(struct usbd_context *const ctx, const struct usbd_msg *msg)
{
    LOG_INF("USBD message: %s", usbd_msg_type_string(msg->type));

    if (usbd_can_detect_vbus(ctx))
    {
        if (msg->type == USBD_MSG_VBUS_READY)
        {
            if (usbd_enable(ctx))
            {
                LOG_ERR("Failed to enable device support");
            }
        }

        if (msg->type == USBD_MSG_VBUS_REMOVED)
        {
            if (usbd_disable(ctx))
            {
                LOG_ERR("Failed to disable device support");
            }
        }
    }

    if (msg->type == USBD_MSG_CDC_ACM_CONTROL_LINE_STATE)
    {
        uint32_t dtr = 0U;

        uart_line_ctrl_get(msg->dev, UART_LINE_CTRL_DTR, &dtr);
        if (dtr)
        {
            k_sem_give(&dtr_sem);
        }
    }

    if (msg->type == USBD_MSG_CDC_ACM_LINE_CODING)
    {
        print_baudrate(msg->dev);
    }
}

static int enable_usb_device_next(void)
{
    int err;
    sample_usbd = sample_usbd_init_device(sample_msg_cb);
    if (sample_usbd == NULL)
    {
        LOG_ERR("Failed to initialize USB device");
        return -ENODEV;
    }

    if (!usbd_can_detect_vbus(sample_usbd))
    {
        err = usbd_enable(sample_usbd);
        if (err)
        {
            LOG_ERR("Failed to enable device support");
            return err;
        }
    }

    LOG_INF("USB device support enabled");

    return 0;
}
// usb end

unsigned char output_buffer[CONFIG_FURRYDEX_FRAME_BYTES_BUFFER];

uint8_t text_pos = 2;
void screen_log(char *log)
{
    #if CONFIG_FUROS_HEADLESS==0
    size_t len = strlen(log);
    paintText(main_buffer, CONFIG_FURRYDEX_DISPLAY_WIDTH, CONFIG_FURRYDEX_DISPLAY_HEIGHT, 1, 0, (text_pos++) * 8, log, font_8, len);
    convertBuffer(main_buffer, output_buffer);
    Display(25, 0, 36, 125, output_buffer);
    #else
    printk(log);
    #endif
}

int setup_configs()
{
    struct fs_file_t data_filp;
    struct fs_dirent entry;
    int ret;
    fs_file_t_init(&data_filp);

    ret = fs_stat(FURRYDEX_MOUNT_POINT "/config/file_associations.ini", &entry);
    if (ret == 0)
    {
        return 0;
    }

    ret = fs_mkdir(FURRYDEX_MOUNT_POINT "/config");
    if (ret != 0 && ret != -EEXIST)
    {
        printk("%s -- failed to create config directory (err = %d)\n", __func__, ret);
        return -3;
    }

    ret = fs_open(&data_filp, FURRYDEX_MOUNT_POINT "/config/file_associations.ini", FS_O_WRITE | FS_O_CREATE);
    if (ret)
    {
        printk("%s -- failed to create file (err = %d)\n", __func__, ret);
        return -2;
    }
    else
    {
        printk("%s - successfully created file\n", __func__);
    }

    char file_data_buffer[200];
    snprintf(file_data_buffer, sizeof(file_data_buffer),
             "[file_associations]\nlua = lua_lf %%path%%\nbmp = lua_lf %s/programs/image_viewer.lua %%path%%\ntxt = lua_lf %s/programs/text_viewer.lua %%path%%\nfdl = open_fdl %%path%%",
             FURRYDEX_MOUNT_POINT, FURRYDEX_MOUNT_POINT);
    ret = fs_write(&data_filp, file_data_buffer, strlen(file_data_buffer));
    fs_close(&data_filp);
    return 0;
}

int main(void)
{
    int ret;
    #if CONFIG_FUROS_HEADLESS==0
    initDisplay();
    invert(main_buffer, CONFIG_FURRYDEX_FRAME_BYTES_BUFFER);
    screen_log("Display initialized");
    #else
    #pragma message ("Headless mode")
    #endif

    if (!device_is_ready(uart_dev))
    {
        LOG_ERR("CDC ACM device not ready");
        screen_log("CDC ACM failed");
        return 0;
    }

    screen_log("CDC ACM ready");

    ret = enable_usb_device_next();
    if (ret != 0)
    {
        LOG_ERR("Failed to enable USB device support");
        return 0;
    }

    screen_log("USB device started");

    console_router_init();

    k_msleep(100); // is this necessary

    if (mount_drive())
    {
        LOG_ERR("Failed to mount drive");
    }
    else
    {
        printk("Successfully mounted drive\n");
        screen_log("Drive mounted");

        setup_configs();
        screen_log("Setup configs");
    }

    if (ble_core_init() == 0)
    {
        screen_log("Initialized BLE");
        ret = ble_peer_init();
        if (ret != 0)
        {
            LOG_ERR("Failed to initialize BLE peer link: %d", ret);
        }
    }
    else
    {
        screen_log("Failed to init BLE");
    }

    if(init_nfc()==0){
        screen_log("Initialized NFC");
    }else{
        screen_log("Failed to init NFC");
    }
    #if CONFIG_FUROS_HEADLESS==0
    blit(main_buffer, CONFIG_FURRYDEX_DISPLAY_WIDTH, CONFIG_FURRYDEX_DISPLAY_HEIGHT, blit_test, 32, 32, 45, 77);
    #endif

    k_msleep(300); // probably there is a better way to get the banner to show lol. maybe a separate thread that starts last?
    uint8_t random = sys_rand8_get();
    const char *splash_text[] = {
        "What do you mean it's just Zephyr?",
        "Finally, an OS for fuzzies",
        "mreooraoeomreaoomewo moewww",
        "hi i love you",
        "<3",
        "OwO whats this?cough.hack. Im so sorry.",
        "Help me! Im stuck in your computer!",
        "Now with 2 tails!",
        "FunOS",
        "whap whap Sorry my tail's so big haha whap",
        "salutations from the slime vat",
        "Tails sold separately",
        "clank clank clank clank clank",
        "Lua NOW!",
        "Si, lontana da Scienza.",
        "The worst piece of software I know"
    };
    printk(FUROS_BANNER);
    printk("Version α - %s %s | \"%s\"\n\n", __DATE__, __TIME__, splash_text[random%(sizeof(splash_text)/sizeof(splash_text[0]))]);
    #if CONFIG_FUROS_HEADLESS==0
    while (true)
    {
        draw_ui();
        k_mutex_lock(&paint_mutex, K_FOREVER);
        convertBuffer(main_buffer, output_buffer);
        k_mutex_unlock(&paint_mutex);
        waitForTE();
        Display(25, 0, 36, 125, output_buffer);
    }
    #endif
    return 0;
}

//      I see your gait tremble at the sight as if to relax a great beast beneath, as if to hypnotize it with your step so that it may not emerge and consume us
//  I see and I think, "We are not doing this" in a desperate plea to God but of course we are and of course it will
//     / |﹊﹊﹊﹊/|     |
//    /  |      / |     |\﹉\  Now it sits before us, beady glass eyes commanding my every move.
//   /\  |#####\  |    _|\\  \          And it sees behind my mask; I feel it in me, the spirit of the machine
//  /  \ |  ︵##\ |   | |_\\ _\           It is trying to kill me
// /    \|  ︶   \|   |_|  \/o|/
///      |________|    #|   ﹉
//      /         /|    |
//     /         / |    |
//    /         L| |    |         And with a single command
//   /         /___|    |   It points to the sky
//  /         /  |#     |
// /         /   |#   Do we really worship the same God?
/*/         /    |      |
           /     ;      |
         .       .      :
                        ;

   */
```

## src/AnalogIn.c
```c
#include "AnalogIn.h"
#include <zephyr/drivers/adc.h>
#include <zephyr/drivers/gpio.h>
#include <zephyr/kernel.h>

/* // example

int ret = PinSetMode(7, true);
    printk("PinSetMode returned: %d\n", ret);
    ret = PinSetMode(0, true);
    printk("PinSetMode returned: %d\n", ret);

    while (1)
    {
        int16_t v = AnalogRead(7);
        int16_t v2 = AnalogRead(0);
        if (v == BAD_ANALOG_READ)
        {
            printk("ADC read failed\n");
        }
        else
        {
            char mvstr[32];
            sprintf(mvstr, "0.31: %d     ", v);
            k_mutex_lock(&paint_mutex, K_FOREVER);
            paintText(IMAGE_DATA2, 1, 40, 30, mvstr);
            k_mutex_unlock(&paint_mutex);

            sprintf(mvstr, "0.02: %d     ", v2);
            k_mutex_lock(&paint_mutex, K_FOREVER);
            paintText(IMAGE_DATA2, 1, 40, 40, mvstr);
            k_mutex_unlock(&paint_mutex);
        }
        k_msleep(30);
    }

*/

static const uint8_t ain_to_pin[AIN_COUNT] = {2, 3, 4, 5, 28, 29, 30, 31};

static const struct device *adc_dev;
static const struct device *gpio0_dev;
static bool adc_initialized[AIN_COUNT] = {false};
static bool pin_is_analog[AIN_COUNT] = {false};
static int16_t sample_buf;

#define ADC_RESOLUTION 10
#define ADC_GAIN ADC_GAIN_1_6
#define ADC_REFERENCE ADC_REF_INTERNAL
#define ADC_ACQUISITION_TIME ADC_ACQ_TIME(ADC_ACQ_TIME_MICROSECONDS, 40)

int PinSetMode(int channel, bool analog)
{
    if (channel < 0 || channel >= AIN_COUNT)
        return -EINVAL;

    if (!adc_dev)
        adc_dev = DEVICE_DT_GET(DT_ALIAS(adcctrl));
    if (!gpio0_dev)
        gpio0_dev = DEVICE_DT_GET(DT_NODELABEL(gpio0));

    if (analog)
    {
        gpio_pin_configure(gpio0_dev, ain_to_pin[channel], GPIO_DISCONNECTED);

        if (!adc_initialized[channel])
        {
            if (!device_is_ready(adc_dev))
            {
                printk("ADC device not ready\n");
                return -ENODEV;
            }
            struct adc_channel_cfg cfg = {
                .gain = ADC_GAIN,
                .reference = ADC_REFERENCE,
                .acquisition_time = ADC_ACQUISITION_TIME,
                .channel_id = channel,
                .differential = 0,
                .input_positive = channel + 1,
            };
            int ret = adc_channel_setup(adc_dev, &cfg);
            printk("adc_channel_setup(%d) = %d\n", channel, ret);
            if (ret != 0)
                return ret;
            adc_initialized[channel] = true;
        }
    }
    else
    {
        gpio_pin_configure(gpio0_dev, ain_to_pin[channel], GPIO_INPUT);
    }

    pin_is_analog[channel] = analog;
    return 0;
}

int16_t AnalogRead(int channel)
{
    if (channel < 0 || channel >= AIN_COUNT)
        return BAD_ANALOG_READ;
    if (!pin_is_analog[channel])
        return BAD_ANALOG_READ;

    const struct adc_sequence sequence = {
        .channels = BIT(channel),
        .buffer = &sample_buf,
        .buffer_size = sizeof(sample_buf),
        .resolution = ADC_RESOLUTION,
    };

    if (adc_read(adc_dev, &sequence) != 0)
        return BAD_ANALOG_READ;

    return sample_buf;
}

// digital functions should be moved to luazephyrlib
int DigitalRead(int channel)
{
    if (channel < 0 || channel >= AIN_COUNT)
        return -EINVAL;
    if (pin_is_analog[channel])
        return -EINVAL;
    return gpio_pin_get(gpio0_dev, ain_to_pin[channel]);
}

int DigitalWrite(int channel, int value)
{
    if (channel < 0 || channel >= AIN_COUNT)
        return -EINVAL;
    if (pin_is_analog[channel])
        return -EINVAL;
    return gpio_pin_set(gpio0_dev, ain_to_pin[channel], value);
}
```

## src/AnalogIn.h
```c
#ifndef ANALOG_IN_H
#define ANALOG_IN_H

#include <stdint.h>
#include <stdbool.h>

#ifdef __cplusplus
extern "C" {
#endif

#define BAD_ANALOG_READ -1
#define AIN_COUNT 8

// Switch a pin between analog and digital mode at runtime.
// analog=true  -> ADC input
// analog=false -> GPIO input (call gpio_pin_configure separately for output)
int PinSetMode(int channel, bool analog);

// Read voltage in volts. Channel must be in analog mode.
int16_t AnalogRead(int channel);

// Digital read/write. Channel must be in digital mode.
int DigitalRead(int channel);
int DigitalWrite(int channel, int value);

#ifdef __cplusplus
}
#endif

#endif
```

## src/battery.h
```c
/*
 * Copyright (c) 2018-2019 Peter Bigot Consulting, LLC
 *
 * SPDX-License-Identifier: Apache-2.0
 */

#ifndef APPLICATION_BATTERY_H_
#define APPLICATION_BATTERY_H_

/** Enable or disable measurement of the battery voltage.
 *
 * @param enable true to enable, false to disable
 *
 * @return zero on success, or a negative error code.
 */
int battery_measure_enable(bool enable);

/** Measure the battery voltage.
 *
 * @return the battery voltage in millivolts, or a negative error
 * code.
 */
int battery_sample(void);

/** A point in a battery discharge curve sequence.
 *
 * A discharge curve is defined as a sequence of these points, where
 * the first point has #lvl_pptt set to 10000 and the last point has
 * #lvl_pptt set to zero.  Both #lvl_pptt and #lvl_mV should be
 * monotonic decreasing within the sequence.
 */
struct battery_level_point {
	/** Remaining life at #lvl_mV. */
	uint16_t lvl_pptt;

	/** Battery voltage at #lvl_pptt remaining life. */
	uint16_t lvl_mV;
};

/** Calculate the estimated battery level based on a measured voltage.
 *
 * @param batt_mV a measured battery voltage level.
 *
 * @param curve the discharge curve for the type of battery installed
 * on the system.
 *
 * @return the estimated remaining capacity in parts per ten
 * thousand.
 */
unsigned int battery_level_pptt(unsigned int batt_mV,
				const struct battery_level_point *curve);

int read_batt(void);

int read_batt_mV(int *out);

extern atomic_t battery_percent;

#endif /* APPLICATION_BATTERY_H_ */
```

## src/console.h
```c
#ifndef CONSOLE_H
#define CONSOLE_H

#include <zephyr/kernel.h>

extern struct k_mutex page_select_mutex;
extern const int32_t blink_max_ms;
extern const int32_t blink_min_ms;
extern int32_t blink_sleep_ms;
void input_thread_start(void *arg_1, void *arg_2, void *arg_3);

#endif
```

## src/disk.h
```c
#ifndef DISK_H
#define DISK_H

#include <stdbool.h>
#include <stddef.h>
#include <zephyr/fs/fs.h>

#define LSDIR_MAX_NAME_LEN 32

typedef struct {
    char   name[LSDIR_MAX_NAME_LEN]; /**< Compact, null-terminated entry name. */
    bool   is_dir;                    /**< True if directory, false if file.    */
    size_t size;                      /**< File size in bytes (files only).     */
} lsdir_entry_t;

typedef struct {
    lsdir_entry_t *entries; /**< Heap-allocated array of entries.            */
    int            count;   /**< Number of valid entries in the array.       */
} lsdir_result_t;

int mount_sd_card(void);
int lsdir(const char *path, lsdir_result_t *result);
void lsdir_free(lsdir_result_t *result);
const char *get_file_extension(const char *filename);
void ini_key_to_value(const char *input, const char *target, char *out, size_t out_size);
void openfile_fdl(const char *input);

#endif
```

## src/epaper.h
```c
#ifndef EPAPER_H
#define EPAPER_H

#include <stdint.h>
#include <stdbool.h>

enum epd_mode{
	EPD_MODE_FULL,
	EPD_MODE_FAST,
	EPD_MODE_PART,
};

int initDisplay(enum epd_mode mode);
void Display(const unsigned char* frame_buffer);
void displayPartial(const unsigned char* frame_buffer, uint8_t speed);
void displayPartialSequential(const unsigned char* frame_buffer, uint8_t speed);
void setCursor(unsigned int Xstart, unsigned int Ystart);
void setWindows(unsigned int Xstart, unsigned int Ystart, unsigned int Xend, unsigned int Yend);
void sendCommand(uint8_t byte);
void sendData(uint8_t byte);
void epdReset(void);
void waitUntilidle(void);
void powerOnPumps(void);
void powerOffPumps(void);
void epdSleep(void);

#endif
```

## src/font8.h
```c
extern unsigned char font_8[];
```

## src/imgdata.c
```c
#include <zephyr/kernel.h>

#include "imgdata.h"

unsigned char lua_buffer[CONFIG_FURRYDEX_FRAME_BYTES_BUFFER];
unsigned char main_buffer[CONFIG_FURRYDEX_FRAME_BYTES_BUFFER];

unsigned char blit_test[] = {
    // 'blit test', 32x32px
    0x0f, 0x0f, 0x0f, 0x0f, 0x0f, 0x0f, 0x0f, 0x0f, 0x0f, 0x0f, 0x0f, 0x0f, 0x0f, 0x0f, 0x0f, 0x0f, 
    0xf0, 0xf0, 0xf0, 0xf0, 0xf0, 0xf0, 0xf0, 0xf0, 0xf0, 0xf0, 0xf0, 0xf0, 0xf0, 0xf0, 0xf0, 0xf0, 
    0x0f, 0x3f, 0xff, 0x0f, 0x0f, 0x7f, 0xff, 0x0f, 0x0f, 0xc1, 0x83, 0x0f, 0x0f, 0xd5, 0x83, 0x0f, 
    0xf0, 0xd5, 0xbf, 0xf0, 0xf0, 0xd5, 0x83, 0xf0, 0xf0, 0xff, 0xff, 0xf0, 0xf0, 0xff, 0xff, 0xf0, 
    0x0f, 0xff, 0xff, 0x0f, 0x0f, 0xc1, 0xab, 0x0f, 0x0f, 0xdd, 0xab, 0x0f, 0x0f, 0xdd, 0xab, 0x0f, 
    0xf0, 0xdd, 0xab, 0xf0, 0xf0, 0xc1, 0x83, 0xf0, 0xf0, 0xff, 0xfe, 0xf0, 0xf0, 0xff, 0xfc, 0xf0, 
    0x0f, 0x0f, 0x0f, 0x0f, 0x0f, 0x0f, 0x0f, 0x0f, 0x0f, 0x0f, 0x0f, 0x0f, 0x0f, 0x0f, 0x0f, 0x0f, 
    0xf0, 0xf0, 0xf0, 0xf0, 0xf0, 0xf0, 0xf0, 0xf0, 0xf0, 0xf0, 0xf0, 0xf0, 0xf0, 0xf0, 0xf0, 0xf0
};

unsigned char lua_default_tray_icon[] = {
    // lua default tray icon, 8x8px
    0x9f, 0x9f, 0x95, 0x9b, 0x95, 0x9f, 0x81, 0x81
};
```
